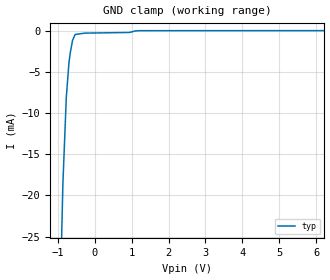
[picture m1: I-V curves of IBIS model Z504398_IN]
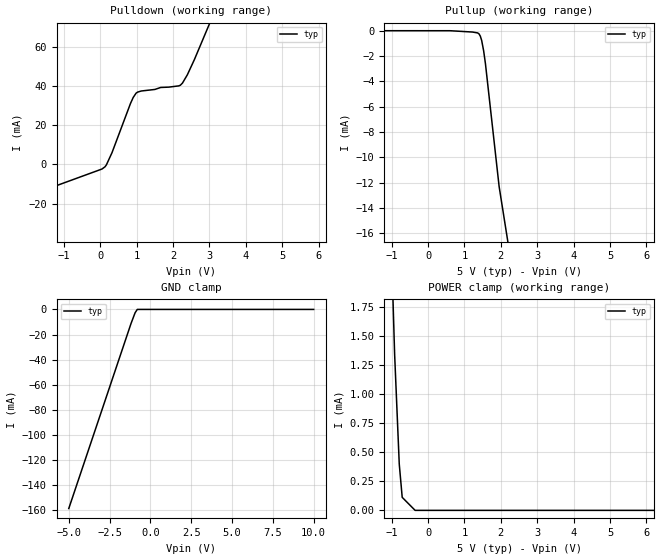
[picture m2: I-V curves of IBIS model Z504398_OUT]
| YOU ARE ONLY AUTHORIZED TO USE THIS SOFTWARE
| ACCORDING TO LICENSOR'S LICENSE RESTRICTIONS.
[IBIS Ver] 3.1
[File Name] sn54ls168j.ibs
[File Rev] 2.0
[Source] Measured and created by ICX Technology
[Date] Friday 7/14/00 9:08:13 AM
[Copyright]
| (C) COPYRIGHT 1993-2000
| MENTOR GRAPHICS CORPORATION
| ICX STANDARD LIBRARY, ICX PROJECT MODELING,
| ICX CUSTOM MODELING, ICX VENDOR MODEL
| ALL RIGHTS RESERVED.
| THE FOLLOWING ARE TRADEMARKS OR SERVICE MARKS OF
| MENTOR GRAPHICS CORPORATION:ICX (R), ICX STANDARD
| LIBRARY(R), ICX PROJECT MODELING(R), ICX CUSTOM
| MODELING(R), qualityIBIS(TM), MODELVIEWER(TM),
| AND MODELEDITOR(TM)
| ALL COPIES OF SOFTWARE, INCLUDING BUT NOT LIMITED TO
| ANY MODIFICATIONS, ENHANCEMENTS OR DERIVATIVE WORKS,
| MUST CONTAIN ALL MENTOR GRAPHICS CORPORATION'S
| NOTICES AND LEGENDS, INCLUDING THOSE EMBEDDED IN
| SOFTWARE AND THOSE AFFIXED TO SOFTWARE MEDIUM
| AND CONTAINER, AS RECEIVED FROM MENTOR GRAPHICS
| CORPORATION.
|  ZAP Model Builder 2.7
[Component] SN54LS168J
[Manufacturer] OnSemiconductor
[Package]
| variable   typ   min   max
R_pkg  .212ohms NA NA
L_pkg  4.758nH NA NA
C_pkg  1.944pF NA NA
[Pin] signal_name  model_name  R_pin  L_pin C_pin
1 U_D Z504398_IN .224 7.258n 2.683p
2 CLK Z504398_IN .216 5.258n 2.19p
3 A Z504398_IN .208 3.758n 1.697p
4 B Z504398_IN .2 2.758n 1.204p
5 C Z504398_IN .2 2.758n 1.204p
6 D Z504398_IN .208 3.758n 1.697p
7 _ENP Z504398_IN .216 5.258n 2.19p
8 GND GND .224 7.258n 2.683p
9 _LOAD Z504398_IN .224 7.258n 2.683p
10 _ENT Z504398_IN .216 5.258n 2.19p
11 QD Z504398_OUT .208 3.758n 1.697p
12 QC Z504398_OUT .2 2.758n 1.204p
13 QB Z504398_OUT .2 2.758n 1.204p
14 QA Z504398_OUT .208 3.758n 1.697p
15 _RCO Z504398_OUT .216 5.258n 2.19p
16 VCC POWER .224 7.258n 2.683p
| Models and submodels in the file (2): Z504398_IN (Input), Z504398_OUT (Output)
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| (C) COPYRIGHT 1993-2000
| MENTOR GRAPHICS CORPORATION
| ICX STANDARD LIBRARY, ICX PROJECT MODELING,
| ICX CUSTOM MODELING, ICX VENDOR MODEL
| ALL RIGHTS RESERVED.
| THE FOLLOWING ARE TRADEMARKS OR SERVICE MARKS OF
| MENTOR GRAPHICS CORPORATION:ICX (R), ICX STANDARD
| LIBRARY(R), ICX PROJECT MODELING(R), ICX CUSTOM
| MODELING(R), qualityIBIS(TM), MODELVIEWER(TM),
| AND MODELEDITOR(TM)
| ALL COPIES OF SOFTWARE, INCLUDING BUT NOT LIMITED TO
| ANY MODIFICATIONS, ENHANCEMENTS OR DERIVATIVE WORKS,
| MUST CONTAIN ALL MENTOR GRAPHICS CORPORATION'S
| NOTICES AND LEGENDS, INCLUDING THOSE EMBEDDED IN
| SOFTWARE AND THOSE AFFIXED TO SOFTWARE MEDIUM
| AND CONTAINER, AS RECEIVED FROM MENTOR GRAPHICS
| CORPORATION.
| Model Application Version 1.89 2/18/99.
[Model] Z504398_IN
Model_type Input
Vinl = 800.0mV
Vinh = 2.000V
C_comp 4.000pF NA NA
| variable typ   min   max
[Voltage Range] 5.000V NA NA
[GND Clamp Reference] 0.000V NA NA
[POWER Clamp Reference] 5.000V NA NA
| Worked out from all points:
|   GND clamp passes 1 mA (typ) near -0.58 V on its own axis
[GND Clamp]
-5V       -817.5mA   NA         NA
-859.3mV  -18.65mA   NA         NA
-766.6mV  -8.114mA   NA         NA
-693.2mV  -3.816mA   NA         NA
-659.2mV  -2.699mA   NA         NA
-597.5mV  -1.176mA   NA         NA
-527.3mV  -462.7uA   NA         NA
-263.7mV  -300uA     NA         NA
946.1mV   -221.2uA   NA         NA
1.104V    -33.23uA   NA         NA
1.226V    -3.437uA   NA         NA
10V       8.676uA    NA         NA
[POWER Clamp]
-5V       0A         NA         NA
10V       0A         NA         NA
| (C) COPYRIGHT 1993-2000
| MENTOR GRAPHICS CORPORATION
| ICX STANDARD LIBRARY, ICX PROJECT MODELING,
| ICX CUSTOM MODELING, ICX VENDOR MODEL
| ALL RIGHTS RESERVED.
| THE FOLLOWING ARE TRADEMARKS OR SERVICE MARKS OF
| MENTOR GRAPHICS CORPORATION:ICX (R), ICX STANDARD
| LIBRARY(R), ICX PROJECT MODELING(R), ICX CUSTOM
| MODELING(R), qualityIBIS(TM), MODELVIEWER(TM),
| AND MODELEDITOR(TM)
| ALL COPIES OF SOFTWARE, INCLUDING BUT NOT LIMITED TO
| ANY MODIFICATIONS, ENHANCEMENTS OR DERIVATIVE WORKS,
| MUST CONTAIN ALL MENTOR GRAPHICS CORPORATION'S
| NOTICES AND LEGENDS, INCLUDING THOSE EMBEDDED IN
| SOFTWARE AND THOSE AFFIXED TO SOFTWARE MEDIUM
| AND CONTAINER, AS RECEIVED FROM MENTOR GRAPHICS
| CORPORATION.
| Model Application Version 1.89 2/18/99.
[Model] Z504398_OUT
Model_type Output
Vref=5.000V
Rref=2.000kohms
Cref=15.00pF
Vmeas=1.300V
C_comp 8.000pF NA NA
| variable typ   min   max
[Voltage Range] 5.000V NA NA
[POWER Clamp Reference] 5.000V NA NA
[Pullup Reference] 5.000V NA NA
[Pulldown Reference] 0.000V NA NA
[GND Clamp Reference] 0.000V NA NA
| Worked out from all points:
|   slope of the pulldown table from 0 to 0.75 V, typ, clamps not added: 25.2 ohm
|   slope of the pullup table from 0 to 0.75 V, typ, clamps not added: 30.1 kohm
|   GND clamp passes 1 mA (typ) near -0.85 V on its own axis
|   POWER clamp passes 1 mA (typ) near -0.87 V on its own axis
[GND Clamp]
-5V       -158.7mA   NA         NA
-1.186V   -11.21mA   NA         NA
-937.5mV  -2.671mA   NA         NA
-803.6mV  0A         NA         NA
10V       0A         NA         NA
[Pulldown]
-5V       -36.56mA   NA         NA
48.9mV    -2.331mA   NA         NA
170.4mV   -194.1uA   NA         NA
322.9mV   5.954mA    NA         NA
830.5mV   31.03mA    NA         NA
907.2mV   34.18mA    NA         NA
986.5mV   36.36mA    NA         NA
1.661V    39.25mA    NA         NA
2.202V    40.4mA     NA         NA
2.395V    45.75mA    NA         NA
2.588V    53.5mA     NA         NA
10V       380.1mA    NA         NA
[Pullup]
-5V       6.934uA    NA         NA
605mV     4.827uA    NA         NA
1.221V    -100uA     NA         NA
1.362V    -168.5uA   NA         NA
1.401V    -248uA     NA         NA
1.436V    -424.4uA   NA         NA
1.473V    -762.9uA   NA         NA
1.528V    -1.597mA   NA         NA
1.577V    -2.611mA   NA         NA
1.953V    -12.31mA   NA         NA
10V       -158.5mA   NA         NA
[POWER Clamp]
-5V       49.54mA    NA         NA
-1.063V   2.853mA    NA         NA
-918mV    1.345mA    NA         NA
-791mV    399uA      NA         NA
-710mV    112.2uA    NA         NA
-355mV    0A         NA         NA
10V       0A         NA         NA
[Ramp]
| variable typ min max
dV/dt_r 1.863/11.37n NA NA
dV/dt_f 1.863/2.402n NA NA
R_load = 500.0Ohms
